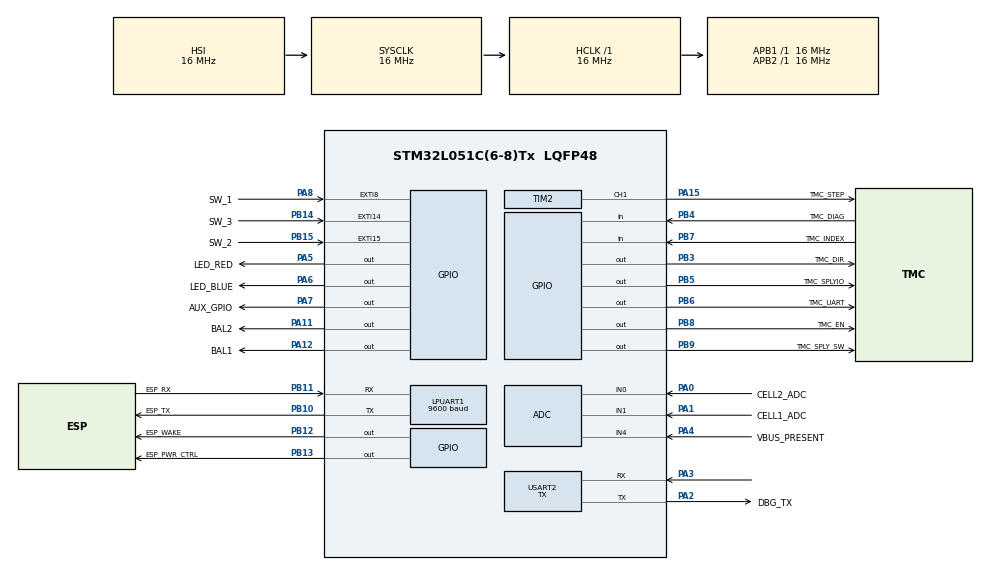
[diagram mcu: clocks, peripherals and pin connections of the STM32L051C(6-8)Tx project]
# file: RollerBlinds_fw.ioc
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ADC.ClockPrescaler=ADC_CLOCK_ASYNC_DIV8
ADC.ContinuousConvMode=ENABLE
ADC.DMAContinuousRequests=ENABLE
ADC.DiscontinuousConvMode=DISABLE
ADC.Overrun=ADC_OVR_DATA_OVERWRITTEN
ADC.OversamplingMode=ENABLE
ADC.Ratio=ADC_OVERSAMPLING_RATIO_16
ADC.RightBitShift=ADC_RIGHTBITSHIFT_4
ADC.SamplingTime=ADC_SAMPLETIME_160CYCLES_5
Dma.ADC.0.Direction=DMA_PERIPH_TO_MEMORY
Dma.ADC.0.Instance=DMA1_Channel1
Dma.ADC.0.MemDataAlignment=DMA_MDATAALIGN_WORD
Dma.ADC.0.MemInc=DMA_MINC_ENABLE
Dma.ADC.0.Mode=DMA_CIRCULAR
Dma.ADC.0.PeriphDataAlignment=DMA_PDATAALIGN_WORD
Dma.ADC.0.PeriphInc=DMA_PINC_DISABLE
Dma.ADC.0.Priority=DMA_PRIORITY_LOW
Dma.LPUART1_RX.1.Direction=DMA_PERIPH_TO_MEMORY
Dma.LPUART1_RX.1.Instance=DMA1_Channel3
Dma.LPUART1_RX.1.MemDataAlignment=DMA_MDATAALIGN_BYTE
Dma.LPUART1_RX.1.MemInc=DMA_MINC_ENABLE
Dma.LPUART1_RX.1.Mode=DMA_NORMAL
Dma.LPUART1_RX.1.PeriphDataAlignment=DMA_PDATAALIGN_BYTE
Dma.LPUART1_RX.1.PeriphInc=DMA_PINC_DISABLE
Dma.LPUART1_RX.1.Priority=DMA_PRIORITY_MEDIUM
Dma.Request0=ADC
Dma.Request1=LPUART1_RX
FREERTOS.MEMORY_ALLOCATION=2
FREERTOS.Tasks01=misc_task,0,64,misc_task_entry,Default,NULL,Dynamic,NULL,NULL;tmc_task,0,64,tmc_task_entry,Default,NULL,Dynamic,NULL,NULL;main_logic_task,0,128,main_logic_task_entry,Default,NULL,Dynamic,NULL,NULL;esp_task,0,128,esp_task_entry,Default,NULL,Dynamic,NULL,NULL;analog_task,0,64,analog_task_entry,Default,NULL,Dynamic,NULL,NULL
FREERTOS.configCHECK_FOR_STACK_OVERFLOW=1
FREERTOS.configGENERATE_RUN_TIME_STATS=0
FREERTOS.configMINIMAL_STACK_SIZE=64
FREERTOS.configTOTAL_HEAP_SIZE=2500
FREERTOS.configUSE_MUTEXES=0
LPUART1.BaudRate=9600
LPUART1.WordLength=UART_WORDLENGTH_8B
Mcu.Family=STM32L0
Mcu.Name=STM32L051C(6-8)Tx
Mcu.Package=LQFP48
NVIC.DMA1_Channel1_IRQn=true\:3\:0\:false\:false\:true\:true\:false\:true
NVIC.DMA1_Channel2_3_IRQn=true\:3\:0\:false\:false\:true\:true\:false\:true
NVIC.EXTI4_15_IRQn=true\:3\:0\:false\:false\:true\:true\:true\:true
NVIC.LPUART1_IRQn=true\:3\:0\:false\:false\:true\:true\:true\:true
NVIC.RTC_IRQn=true\:3\:0\:false\:false\:true\:true\:true\:true
NVIC.TIM2_IRQn=true\:3\:0\:false\:false\:true\:true\:true\:true
NVIC.TIM6_DAC_IRQn=true\:0\:0\:false\:false\:true\:false\:false\:true
NVIC.TimeBase=TIM6_DAC_IRQn
NVIC.TimeBaseIP=TIM6
NVIC.USART2_IRQn=true\:3\:0\:false\:false\:true\:true\:true\:true
PA0.GPIO_Label=CELL2_ADC
PA0.Mode=IN0
PA0.Signal=ADC_IN0
PA1.GPIO_Label=CELL1_ADC
PA1.Mode=IN1
PA1.Signal=ADC_IN1
PA11.GPIO_Label=BAL2
PA11.Signal=GPIO_Output
PA12.GPIO_Label=BAL1
PA12.Signal=GPIO_Output
PA13.Mode=Serial_Wire
PA13.Signal=SYS_SWDIO
PA14.Mode=Serial_Wire
PA14.Signal=SYS_SWCLK
PA15.GPIO_Label=TMC_STEP
PA15.Signal=S_TIM2_CH1
PA2.GPIO_Label=DBG_TX
PA2.Mode=Asynchronous
PA2.Signal=USART2_TX
PA3.Mode=Asynchronous
PA3.Signal=USART2_RX
PA4.GPIO_Label=VBUS_PRESENT
PA4.Mode=IN4
PA4.Signal=ADC_IN4
PA5.GPIO_Label=LED_RED
PA5.Signal=GPIO_Output
PA6.GPIO_Label=LED_BLUE
PA6.Signal=GPIO_Output
PA7.GPIO_Label=AUX_GPIO
PA7.Signal=GPIO_Output
PA8.GPIO_Label=SW_1
PA8.GPIO_ModeDefaultEXTI=GPIO_MODE_IT_FALLING
PA8.GPIO_PuPd=GPIO_PULLUP
PA8.Signal=GPXTI8
PB10.GPIO_Label=ESP_TX
PB10.Mode=Asynchronous
PB10.Signal=LPUART1_TX
PB11.GPIO_Label=ESP_RX
PB11.Mode=Asynchronous
PB11.Signal=LPUART1_RX
PB12.GPIO_Label=ESP_WAKE
PB12.Signal=GPIO_Output
PB13.GPIO_Label=ESP_PWR_CTRL
PB13.PinState=GPIO_PIN_SET
PB13.Signal=GPIO_Output
PB14.GPIO_Label=SW_3
PB14.GPIO_ModeDefaultEXTI=GPIO_MODE_IT_FALLING
PB14.GPIO_PuPd=GPIO_PULLUP
PB14.Signal=GPXTI14
PB15.GPIO_Label=SW_2
PB15.GPIO_ModeDefaultEXTI=GPIO_MODE_IT_FALLING
PB15.GPIO_PuPd=GPIO_PULLUP
PB15.Signal=GPXTI15
PB3.GPIO_Label=TMC_DIR
PB3.Signal=GPIO_Output
PB4.GPIO_Label=TMC_DIAG
PB4.Signal=GPIO_Input
PB5.GPIO_Label=TMC_SPLYIO
PB5.Signal=GPIO_Output
PB6.GPIO_Label=TMC_UART
PB6.Signal=GPIO_Output
PB7.GPIO_Label=TMC_INDEX
PB7.Signal=GPIO_Input
PB8.GPIO_Label=TMC_EN
PB8.Signal=GPIO_Output
PB9.GPIO_Label=TMC_SPLY_SW
PB9.Signal=GPIO_Output
PC14-OSC32_IN.Mode=LSE-External-Oscillator
PC14-OSC32_IN.Signal=RCC_OSC32_IN
PC15-OSC32_OUT.Mode=LSE-External-Oscillator
PC15-OSC32_OUT.Signal=RCC_OSC32_OUT
ProjectManager.HeapSize=0x200
ProjectManager.StackSize=0x400
ProjectManager.TargetToolchain=SW4STM32
RCC.AHBFreq_Value=16000000
RCC.APB1Freq_Value=16000000
RCC.APB1TimFreq_Value=16000000
RCC.APB2Freq_Value=16000000
RCC.APB2TimFreq_Value=16000000
RCC.HCLKFreq_Value=16000000
RCC.HSE_VALUE=8000000
RCC.HSI16_VALUE=16000000
RCC.HSI_VALUE=16000000
RCC.MSI_VALUE=2097000
RCC.RTCClockSelectionVirtual=RCC_RTCCLKSOURCE_LSE
RCC.SYSCLKFreq_VALUE=16000000
RCC.SYSCLKSource=RCC_SYSCLKSOURCE_HSI
RCC.VCOOutputFreq_Value=48000000
RTC.Date=21
RTC.DayLightSaving=RTC_DAYLIGHTSAVING_NONE
RTC.Format=RTC_FORMAT_BIN
RTC.Hours=15
RTC.Minutes=15
RTC.Month=RTC_MONTH_MAY
RTC.Seconds=13
RTC.WakeUpCounter-WakeUp=65535
RTC.WeekDay=RTC_WEEKDAY_FRIDAY
RTC.Year=21
SH.S_TIM2_CH1.0=TIM2_CH1,PWM Generation1 CH1
TIM2.Channel-PWM\ Generation1\ CH1=TIM_CHANNEL_1
TIM2.Period=32000
TIM2.Prescaler=7
TIM2.Pulse-PWM\ Generation1\ CH1=20
USART2.Mode=MODE_TX
USART2.VirtualMode-Asynchronous=VM_ASYNC
VP_FREERTOS_VS_CMSIS_V1.Mode=CMSIS_V1
VP_RTC_VS_RTC_Activate.Mode=RTC_Enabled
VP_RTC_VS_RTC_Calendar.Mode=RTC_Calendar
VP_RTC_VS_RTC_WakeUp_intern.Mode=WakeUp
VP_SYS_VS_tim6.Mode=TIM6
board=custom

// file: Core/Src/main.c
/* USER CODE BEGIN Header */
/**
  ******************************************************************************
  * @file           : main.c
  * @brief          : Main program body
  ******************************************************************************
  * @attention
  *
  * <h2><center>&copy; Copyright (c) 2021 STMicroelectronics.
  * All rights reserved.</center></h2>
  *
  * This software component is licensed by ST under BSD 3-Clause license,
  * the "License"; You may not use this file except in compliance with the
  * License. You may obtain a copy of the License at:
  *                        opensource.org/licenses/BSD-3-Clause
  *
  ******************************************************************************
  */
/* USER CODE END Header */
#include "main.h"
#include "cmsis_os.h"
#include "adc.h"
#include "dma.h"
#include "usart.h"
#include "rtc.h"
#include "tim.h"
#include "gpio.h"

/* USER CODE BEGIN Includes */
#include "hw.h"
/* USER CODE END Includes */

/* USER CODE BEGIN PV */
extern int32_t g_steps_abs;
extern  bool g_stp_direction;
/* USER CODE END PV */

void SystemClock_Config(void);
void MX_FREERTOS_Init(void);

int main(void)
{

  /* MCU Configuration--------------------------------------------------------*/

  /* Reset of all peripherals, Initializes the Flash interface and the Systick. */
  HAL_Init();

  /* Configure the system clock */
  SystemClock_Config();

  /* Initialize all configured peripherals */
  MX_GPIO_Init();
  MX_DMA_Init();
  MX_ADC_Init();
  MX_USART2_UART_Init();
  MX_TIM2_Init();
  MX_RTC_Init();
  MX_LPUART1_UART_Init();
  /* USER CODE BEGIN 2 */
  hw_espPower(false);
  hw_tmcEnable(false);
  HAL_GPIO_WritePin(TMC_UART_GPIO_Port, TMC_UART_Pin, GPIO_PIN_SET);

  hw_blueLed(true);
  HAL_Delay(500);

  hw_redLed(true);
  hw_blueLed(false);
  HAL_Delay(500);

  //hw_tmcEnable(true);
  hw_blueLed(true);
  HAL_Delay(500);
  hw_blueLed(false);
  hw_redLed(false);

  hw_adcStart(); //start adc

  //flush lpuart (esp comms) to prevent getting 0x00 at firtst receive call
  //uint8_t shitdata[3];
  //HAL_UART_Receive(&hlpuart1, shitdata, 3, 100);

  //set initial RTC date. updates from wifi at first run
  hw_setRtcTime(12, 12, 0);
  hw_setRtcDate(1, 1, 21);

  dbg_debugPrint("boot\n");

  //wait to allow debbugging after reset
  HAL_Delay(5000);

  //hw_espPower(true);
  //while(1);

  /* USER CODE END 2 */

  /* Call init function for freertos objects (in freertos.c) */
  MX_FREERTOS_Init();
  /* Start scheduler */
  osKernelStart();

  /* We should never get here as control is now taken by the scheduler */
  /* Infinite loop */
  while (1){

  }
}

void SystemClock_Config(void)
{
  RCC_OscInitTypeDef RCC_OscInitStruct = {0};
  RCC_ClkInitTypeDef RCC_ClkInitStruct = {0};
  RCC_PeriphCLKInitTypeDef PeriphClkInit = {0};

  /** Configure the main internal regulator output voltage
  */
  __HAL_PWR_VOLTAGESCALING_CONFIG(PWR_REGULATOR_VOLTAGE_SCALE1);
  /** Configure LSE Drive Capability
  */
  HAL_PWR_EnableBkUpAccess();
  __HAL_RCC_LSEDRIVE_CONFIG(RCC_LSEDRIVE_LOW);
  /** Initializes the RCC Oscillators according to the specified parameters
  * in the RCC_OscInitTypeDef structure.
  */
  RCC_OscInitStruct.OscillatorType = RCC_OSCILLATORTYPE_HSI|RCC_OSCILLATORTYPE_LSE;
  RCC_OscInitStruct.LSEState = RCC_LSE_ON;
  RCC_OscInitStruct.HSIState = RCC_HSI_ON;
  RCC_OscInitStruct.HSICalibrationValue = RCC_HSICALIBRATION_DEFAULT;
  RCC_OscInitStruct.PLL.PLLState = RCC_PLL_NONE;
  if (HAL_RCC_OscConfig(&RCC_OscInitStruct) != HAL_OK)
  {
    Error_Handler();
  }
  /** Initializes the CPU, AHB and APB buses clocks
  */
  RCC_ClkInitStruct.ClockType = RCC_CLOCKTYPE_HCLK|RCC_CLOCKTYPE_SYSCLK
                              |RCC_CLOCKTYPE_PCLK1|RCC_CLOCKTYPE_PCLK2;
  RCC_ClkInitStruct.SYSCLKSource = RCC_SYSCLKSOURCE_HSI;
  RCC_ClkInitStruct.AHBCLKDivider = RCC_SYSCLK_DIV1;
  RCC_ClkInitStruct.APB1CLKDivider = RCC_HCLK_DIV1;
  RCC_ClkInitStruct.APB2CLKDivider = RCC_HCLK_DIV1;

  if (HAL_RCC_ClockConfig(&RCC_ClkInitStruct, FLASH_LATENCY_0) != HAL_OK)
  {
    Error_Handler();
  }
  PeriphClkInit.PeriphClockSelection = RCC_PERIPHCLK_USART2|RCC_PERIPHCLK_LPUART1
                              |RCC_PERIPHCLK_RTC;
  PeriphClkInit.Usart2ClockSelection = RCC_USART2CLKSOURCE_PCLK1;
  PeriphClkInit.Lpuart1ClockSelection = RCC_LPUART1CLKSOURCE_PCLK1;
  PeriphClkInit.RTCClockSelection = RCC_RTCCLKSOURCE_LSE;
  if (HAL_RCCEx_PeriphCLKConfig(&PeriphClkInit) != HAL_OK)
  {
    Error_Handler();
  }
}

 /**
  * @brief  Period elapsed callback in non blocking mode
  * @note   This function is called  when TIM6 interrupt took place, inside
  * HAL_TIM_IRQHandler(). It makes a direct call to HAL_IncTick() to increment
  * a global variable "uwTick" used as application time base.
  * @param  htim : TIM handle
  * @retval None
  */
void HAL_TIM_PeriodElapsedCallback(TIM_HandleTypeDef *htim)
{
  if (htim->Instance == TIM6) {
    HAL_IncTick();
  }
}

void Error_Handler(void)
{
  __disable_irq();
  while (1)
  {
  }
}

/************************ (C) COPYRIGHT STMicroelectronics *****END OF FILE****/

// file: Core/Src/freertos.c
/* USER CODE BEGIN Header */
/**
  ******************************************************************************
  * File Name          : freertos.c
  * Description        : Code for freertos applications
  ******************************************************************************
  * @attention
  *
  * <h2><center>&copy; Copyright (c) 2021 STMicroelectronics.
  * All rights reserved.</center></h2>
  *
  * This software component is licensed by ST under Ultimate Liberty license
  * SLA0044, the "License"; You may not use this file except in compliance with
  * the License. You may obtain a copy of the License at:
  *                             www.st.com/SLA0044
  *
  ******************************************************************************
  */
/* USER CODE END Header */

#include "FreeRTOS.h"
#include "task.h"
#include "main.h"
#include "cmsis_os.h"

/* USER CODE BEGIN Includes */
#include "hw.h"
/* USER CODE END Includes */

/* USER CODE BEGIN Variables */
extern volatile int32_t g_vel_act; //actual motor velocity global variable from hw.c file
extern volatile int32_t g_vel_cmd; //global velocity command variable from hw.c file

extern volatile int32_t g_steps_abs; //global variables for absolute step counter and stepper direction from hw.c file

extern volatile int32_t g_pos_cmd; //global position command variable from hw.c file
extern volatile bool g_pos_ctrl_active; //global positional controll active flag from hw.c file

extern volatile bool g_charging_flag; //global charging flag from hw.c file
extern volatile bool g_low_battery_flag; //global low batterz flag from hw.c
extern volatile bool g_balance_active_flag; //global balance active flag from hw.c
extern volatile bool g_fully_charged_flag; //global fullu charged flag from hw.c

extern volatile int32_t g_up_pos; //global up position from hw.c
extern volatile int32_t g_down_pos; //global down position from hw.c

extern volatile bool g_esp_comms_active; //global esp comms active flag from hw.c

//extern volatile uint8_t g_SoC; //global battery state of charge variable from hw.c
extern volatile uint8_t g_status; //global status code (indicates open/close status and errors) from hw.c
extern volatile bool g_request_rtc_refresh; //global rtc time refresh request flag from hw.c. if rtc refresh ok, esp_task resets this to 0

//set position from slider on home assistant in PERCENT  value 255 indicates no movement needed
volatile uint8_t force_position_from_wifi = 255;

//todo: set status code throughout operation

// 0: unknown
// 1: up
// 2: down
uint8_t g_blinds_position = 0;

extern uint8_t g_inhibit_sleep; //global inhibit sleep flag. Keeps looping, doesnt sleep
bool g_esp_data_ok = false; //indicates esp got data (and updated timetable if new times arrived)

//timetable structure for opening/closing times When times are received from esp, we write them in timetable
//also for rtc refresh scheduled time
//set done flag when action finished, reset one minute later (prevents repeated triggering)
struct Timetable{
    uint8_t open_hr;
    uint8_t open_min;
    uint8_t close_hr;
    uint8_t close_min;
    bool open_done;
    bool close_done;
    uint8_t timetable_refresh_minute;
};
struct Timetable timetable;

/* USER CODE END Variables */
osThreadId misc_taskHandle;
osThreadId tmc_taskHandle;
osThreadId main_logic_taskHandle;
osThreadId esp_taskHandle;
osThreadId analog_taskHandle;

void misc_task_entry(void const * argument);
void tmc_task_entry(void const * argument);
void main_logic_task_entry(void const * argument);
void esp_task_entry(void const * argument);
void analog_task_entry(void const * argument);

void MX_FREERTOS_Init(void); /* (MISRA C 2004 rule 8.1) */

/* GetIdleTaskMemory prototype (linked to static allocation support) */
void vApplicationGetIdleTaskMemory( StaticTask_t **ppxIdleTaskTCBBuffer, StackType_t **ppxIdleTaskStackBuffer, uint32_t *pulIdleTaskStackSize );

/* Hook prototypes */
void vApplicationStackOverflowHook(xTaskHandle xTask, signed char *pcTaskName);

/* USER CODE BEGIN 4 */
__weak void vApplicationStackOverflowHook(xTaskHandle xTask, signed char *pcTaskName)
{
   /* Run time stack overflow checking is performed if
   configCHECK_FOR_STACK_OVERFLOW is defined to 1 or 2. This hook function is
   called if a stack overflow is detected. */
}
/* USER CODE END 4 */

/* USER CODE BEGIN GET_IDLE_TASK_MEMORY */
static StaticTask_t xIdleTaskTCBBuffer;
static StackType_t xIdleStack[configMINIMAL_STACK_SIZE];

void vApplicationGetIdleTaskMemory(StaticTask_t **ppxIdleTaskTCBBuffer, StackType_t **ppxIdleTaskStackBuffer,
                                   uint32_t *pulIdleTaskStackSize) {
    *ppxIdleTaskTCBBuffer = &xIdleTaskTCBBuffer;
    *ppxIdleTaskStackBuffer = &xIdleStack[0];
    *pulIdleTaskStackSize = configMINIMAL_STACK_SIZE;
    /* place for user code */
}
/* USER CODE END GET_IDLE_TASK_MEMORY */

void MX_FREERTOS_Init(void) {

  /* Create the thread(s) */
  /* definition and creation of misc_task */
  osThreadDef(misc_task, misc_task_entry, osPriorityNormal, 0, 64);
  misc_taskHandle = osThreadCreate(osThread(misc_task), NULL);

  /* definition and creation of tmc_task */
  osThreadDef(tmc_task, tmc_task_entry, osPriorityNormal, 0, 64);
  tmc_taskHandle = osThreadCreate(osThread(tmc_task), NULL);

  /* definition and creation of main_logic_task */
  osThreadDef(main_logic_task, main_logic_task_entry, osPriorityNormal, 0, 128);
  main_logic_taskHandle = osThreadCreate(osThread(main_logic_task), NULL);

  /* definition and creation of esp_task */
  osThreadDef(esp_task, esp_task_entry, osPriorityNormal, 0, 128);
  esp_taskHandle = osThreadCreate(osThread(esp_task), NULL);

  /* definition and creation of analog_task */
  osThreadDef(analog_task, analog_task_entry, osPriorityNormal, 0, 64);
  analog_taskHandle = osThreadCreate(osThread(analog_task), NULL);

}

void misc_task_entry(void const * argument)
{
  /* USER CODE BEGIN misc_task_entry */
    /* Infinite loop */
    while(1){
        osDelay(100);
    }

  /* USER CODE END misc_task_entry */
}

void tmc_task_entry(void const * argument)
{
  /* USER CODE BEGIN tmc_task_entry */
    /* Infinite loop */
    //while(1);
    for (;;) {
        //positional controll. sets desired velocity
        //no need to ramp speed up, is handeled by velocity ctrl. only need to slow down to reach the exact destination

        if (g_pos_ctrl_active) { //positional controll active / position not yet reached
            int32_t diff = g_pos_cmd - g_steps_abs;
//          else if((g_pos_cmd >= 0 && g_steps_abs > g_pos_cmd) || (g_pos_cmd < 0 && g_steps_abs < g_pos_cmd)){
//              //we have overshot destination in this case. whoops.
//              g_pos_ctrl_active = false;
//          }
            if (abs(diff) < TMC_POS_CTRL_RAMP_DOWN_LEN) { //near destinatio
                int32_t reqVel = (TMC_CRUISE_VEL * diff) /
                                 TMC_POS_CTRL_RAMP_DOWN_LEN; //required velocity. this should be capped at TMC_MIN_VEL (min velocity at which destination is reached)
                if (reqVel >= 0 && reqVel <= TMC_MIN_VEL) reqVel = TMC_MIN_VEL;
                else if (reqVel < 0 && reqVel >= -TMC_MIN_VEL) reqVel = -TMC_MIN_VEL;
                tmc_commandVelocity(reqVel);
            } else if (diff > 0) { //cruising speed, positive direction
                tmc_commandVelocity(TMC_CRUISE_VEL);
            } else { //cruising speed, negative direction
                tmc_commandVelocity(-TMC_CRUISE_VEL);
            }
            if (abs(diff) <= 5) { //5 steps to destination is close enough
                g_pos_ctrl_active = false;
                tmc_commandVelocity(0);
            }
        }

        //velocity controll
        int32_t sps_rel;
        if (g_vel_cmd != 0 || g_vel_act != 0) { //commanded and actual velocity not zero, tmc should be ON
            tmc_startStepGen();
            hw_tmcEnable(true);
            if (g_vel_cmd < g_vel_act) {
                if (g_vel_act - g_vel_cmd <= TMC_VEL_CHNG_PER_MS * TMC_TASK_DELAY) { //we can directly jump to commanded speed
                    sps_rel = g_vel_cmd;
                    g_vel_act = sps_rel;
                    if (sps_rel >= 0) {
                        tmc_setSpS(sps_rel);
                        tmc_direction(true);
                    } else {
                        tmc_setSpS(-sps_rel);
                        tmc_direction(false);
                    }

                } else { //decrease speed max allowable amount
                    sps_rel = g_vel_act - TMC_VEL_CHNG_PER_MS * TMC_TASK_DELAY;
                    g_vel_act = sps_rel;
                    if (sps_rel >= 0) {
                        tmc_setSpS(sps_rel);
                        tmc_direction(true);
                    } else {
                        tmc_setSpS(-sps_rel);
                        tmc_direction(false);
                    }
                }
            } else if (g_vel_cmd > g_vel_act) {
                if (g_vel_cmd - g_vel_act <= TMC_VEL_CHNG_PER_MS * TMC_TASK_DELAY) { //we can directly jump to commanded speed
                    sps_rel = g_vel_cmd;
                    g_vel_act = sps_rel;
                    if (sps_rel >= 0) {
                        tmc_setSpS(sps_rel);
                        tmc_direction(true);
                    } else {
                        tmc_setSpS(-sps_rel);
                        tmc_direction(false);
                    }
                } else { //increase speed max allowable amount
                    sps_rel = g_vel_act + TMC_VEL_CHNG_PER_MS * TMC_TASK_DELAY;
                    g_vel_act = sps_rel;
                    if (sps_rel >= 0) {
                        tmc_setSpS(sps_rel);
                        tmc_direction(true);
                    } else {
                        tmc_setSpS(-sps_rel);
                        tmc_direction(false);
                    }
                }
            }
        } else { //commanded and actual velocity zero, tmc should be OFF
            tmc_stopStepGen();
            hw_tmcEnable(false);
        }

        //else: nothing to do, speed is already mached
        osDelay(TMC_TASK_DELAY);
    }
  /* USER CODE END tmc_task_entry */
}

void main_logic_task_entry(void const * argument)
{
  /* USER CODE BEGIN main_logic_task_entry */
    /* Infinite loop */
    for (;;) {

        //first run code

        //set timetable members to 255 (no valid open/close times)
        timetable.close_hr = 255;
        timetable.close_min = 255;
        timetable.open_hr = 255;
        timetable.open_min = 255;
        timetable.open_done = false;
        timetable.timetable_refresh_minute = 0;

//        //set timetable members to 255 (no valid open/close times)
//        timetable.close_hr = 12;
//        timetable.close_min = 04;
//        timetable.open_hr = 12;
//        timetable.open_min = 02;
//        timetable.open_done = false;
//        timetable.rtc_refresh_day = 15;
//        timetable.rtc_done = false;
//        timetable.timetable_refresh_minute = 30;
//        timetable.timetable_refresh_done = false;

        //first thing to do: set rtc from wifi
        hw_blueLed(true);
        osDelay(1000);
        //set rtc time from wifi. tries again if failed. sw cant start if this is not ok.
        //bool rtcok = false;
        //vTaskSuspend(tmc_taskHandle);
        //vTaskSuspend(misc_taskHandle);
        //vTaskSuspend(analog_taskHandle);
        bool rtcok = false; //todo: this is set to true to disable rtc time refresh on startup
        while(!rtcok){
            osDelay(100);
            g_request_rtc_refresh = true; //request rtc refresh
            g_esp_comms_active = true; //start comms with esp
            while(g_esp_comms_active){
                //osDelay(10);
            }
            if(g_esp_data_ok && !g_request_rtc_refresh){
                rtcok = true;
            }
            else{
                rtcok = false;
            }

        }
        hw_blueLed(false);
        hw_redLed(true);
        static uint8_t loopCtrl = 1;
        while(loopCtrl){

            hw_tmcPower(true);
            hw_tmcIoSply(true);
            switch(loopCtrl){
                case 0:
                    break;
                case 1:
                    //setting upper position. red led illuminated
                    hw_redLed(true);
                    hw_blueLed(false);
                    if(hw_sw1()){
                        tmc_commandVelocity(TMC_MAX_VEL); //jogging up
                    }
                    else if(hw_sw3()){
                        tmc_commandVelocity(-TMC_MAX_VEL); //jogging down
                    }
                    else{
                        tmc_commandVelocity(0);
                    }
                    if(hw_sw2()){
                        //set position button.
                        tmc_commandVelocity(0);
                        loopCtrl = 2;
                        g_up_pos = g_steps_abs;
                        osDelay(500);
                    }
                    break;
                case 2:
                    //setting lower position. blue led illuminated
                    hw_redLed(false);
                    hw_blueLed(true);
                    //reset MCU if all three buttons pressed
                    if(hw_sw1() && hw_sw2() && hw_sw3()){
                        HAL_NVIC_SystemReset();
                    }
                    if(hw_sw1()){
                        tmc_commandVelocity(TMC_MAX_VEL); //jogging up
                    }
                    else if(hw_sw3()){
                        tmc_commandVelocity(-TMC_MAX_VEL); //jogging down
                    }
                    else{
                        tmc_commandVelocity(0);
                    }

                    hw_redLed(false);

                    if(hw_sw2()){
                        //set position button.
                        tmc_commandVelocity(0);
                        g_down_pos = g_steps_abs;
                        //calibration finished, blink a few times
                        hw_redLed(false);
                        hw_blueLed(false);
                        osDelay(100);
                        hw_redLed(true);
                        hw_blueLed(true);
                        osDelay(100);
                        hw_redLed(false);
                        hw_blueLed(false);
                        osDelay(100);
                        hw_redLed(true);
                        hw_blueLed(true);
                        osDelay(100);
                        hw_redLed(false);
                        hw_blueLed(false);
                        //calibration now finished, we can exit while loop by setting loopctrl to 0
                        loopCtrl = 0;
                    }
            }

        }
        hw_tmcIoSply(false);
        hw_tmcPower(false);
        //set next timetable refresh time
        timetable.timetable_refresh_minute = hw_scheduleMinuteCompare(TIMETABLE_REFRESH_PERIOD_MIN);
        dbg_debugPrint("calib ok\n");
        // ########## END OF STARTUP MANUAL POSITION CALIBRATION

        //plan for main logic:
        //do stuff and sleep at the end of every while cycle
        //for low battery, dont cycle the loop unless charged enough (sleep in a sepparate loop)
        //on wake up, check:
        //low battery?
        //charging?
        //button presses - manual open/close?
        //time to auto open/close?
        //time to refresh rtc?
        // nope? go back to sleep

        //if low battery, go to a nested loop, stay there until conditions no longer true

        //main logic loop

        while(1){
            //just woken up:
            hw_inhibitSleepReset();

            //check if battery is dead
            uint32_t batDeadSlpCounter = 0;
            while(hw_getSoc() == 0){
                //g_status = STATUS_BAT_DEAD;
                if(batDeadSlpCounter == 0){ //send status to esp once when enetering low bat
                    g_request_rtc_refresh = false;
                    g_esp_comms_active = true;
                    while(g_esp_comms_active);
                }
                if(batDeadSlpCounter%20 == 0){
                    osDelay(100); //allow sime time for other stuff to happen once in a while
                }
                batDeadSlpCounter++;
                hw_sleep();

                //reset MCU if all three buttons pressed
                if(hw_sw1() && hw_sw2() && hw_sw3()){
                    HAL_NVIC_SystemReset();
                }
            }

            //check if charging. inhibit sleep and enable leds if it is
            if(g_charging_flag){
                hw_inhibitSleep(true);
                if(g_fully_charged_flag){
                    hw_blueLed(true);
                    hw_redLed(false);
                }
                else{
                    hw_blueLed(false);
                    hw_redLed(true);
                }
            }
            else{
                hw_inhibitSleep(false);
                hw_blueLed(false);
                hw_redLed(false);
            }

            //buttons pressed?
            if(hw_sw1() && g_blinds_position != G_POS_UP){
                hw_tmcPower(true);
                hw_tmcIoSply(true);
                osDelay(100);
                tmc_commandPosition(g_up_pos);
                while (tmc_posCtrlActive()){
                    if(hw_sw3()){
                        tmc_commandPosition(g_down_pos);
                    }
                    else if(hw_sw1()){
                        tmc_commandPosition(g_up_pos);
                    }
                }
                hw_tmcPower(false);
                hw_tmcIoSply(false);
            }
            else if(hw_sw3() && g_blinds_position != G_POS_DOWN){
                hw_tmcPower(true);
                hw_tmcIoSply(true);
                osDelay(100);
                tmc_commandPosition(g_down_pos);
                while (tmc_posCtrlActive()){
                    if(hw_sw3()){
                        tmc_commandPosition(g_down_pos);
                    }
                    else if(hw_sw1()){
                        tmc_commandPosition(g_up_pos);
                    }
                }
                hw_tmcPower(false);
                hw_tmcIoSply(false);
            }

            //refresh timetable if middle button pressed
            else if(hw_sw2()){
                g_esp_comms_active = true; //trigger comms
                timetable.timetable_refresh_minute = hw_scheduleMinuteCompare(TIMETABLE_REFRESH_PERIOD_MIN);
            }

            //reset MCU if all three buttons pressed
            if(hw_sw1() && hw_sw2() && hw_sw3()){
                HAL_NVIC_SystemReset();
            }

            //automatic RTC opening, closing

            //open
            if(hw_getHour() == timetable.open_hr && hw_getMinute() == timetable.open_min && !timetable.open_done && g_blinds_position != G_POS_UP){
                dbg_debugPrint("auto up\n");
                hw_tmcPower(true);
                hw_tmcIoSply(true);
                osDelay(100);
                tmc_commandPosition(g_up_pos);
                while (tmc_posCtrlActive()){
                    if(hw_sw3()){
                        tmc_commandPosition(g_down_pos);
                    }
                    else if(hw_sw1()){
                        tmc_commandPosition(g_up_pos);
                    }
                }
                hw_tmcPower(false);
                hw_tmcIoSply(false);
                timetable.open_done = true;
            }

            //close
            if(hw_getHour() == timetable.close_hr && hw_getMinute() == timetable.close_min && !timetable.close_done && g_blinds_position != G_POS_DOWN){
                dbg_debugPrint("auto dn\n");
                hw_tmcPower(true);
                hw_tmcIoSply(true);
                osDelay(100);
                tmc_commandPosition(g_down_pos);
                while (tmc_posCtrlActive()){
                    if(hw_sw3()){
                        tmc_commandPosition(g_down_pos);
                    }
                    else if(hw_sw1()){
                        tmc_commandPosition(g_up_pos);
                    }
                }
                hw_tmcPower(false);
                hw_tmcIoSply(false);
                timetable.close_done = true;
            }

            //manual position from home assistant
            if(force_position_from_wifi <= 100){
                dbg_debugPrint("auto prcnt\n");
                hw_tmcPower(true);
                hw_tmcIoSply(true);
                osDelay(100);
                tmc_commandPositionPercent(force_position_from_wifi);
                while (tmc_posCtrlActive()){
                    if(hw_sw3()){
                        tmc_commandPosition(g_down_pos);
                    }
                    else if(hw_sw1()){
                        tmc_commandPosition(g_up_pos);
                    }
                }
                force_position_from_wifi = 255;
                hw_tmcPower(false);
                hw_tmcIoSply(false);
            }

            //reset close_done flag
            if(timetable.close_done){
                if(hw_getMinute() != timetable.close_min){
                    timetable.close_done = false;
                }
            }
            //reset open_done flag
            if(timetable.open_done){
                if(hw_getMinute() != timetable.open_min){
                    timetable.open_done = false;
                }
            }

            if(hw_getMinute() == timetable.timetable_refresh_minute){
                g_request_rtc_refresh = true; //request rtc refresh
                g_esp_comms_active = true; //trigger comms
                timetable.timetable_refresh_minute = hw_scheduleMinuteCompare(TIMETABLE_REFRESH_PERIOD_MIN);
            }

            //not needed - rtc is refreshed every timetable refresh
//            if(hw_getDay() == timetable.rtc_refresh_day && !timetable.rtc_done){
//                g_request_rtc_refresh = false; //not needed here
//                g_esp_comms_active = true; //triger comms
//                timetable.rtc_done = true;
//            }

            //request sleep inhibit if esp comms active
            if(g_esp_comms_active){
                hw_inhibitSleep(true);
            }
            else{
                hw_inhibitSleep(false);
            }

            //set g_blinds_position
            if(abs(g_steps_abs-g_up_pos)<POS_CLOSE_ENOUGH) g_blinds_position = G_POS_UP;
            else if(abs(g_steps_abs-g_down_pos)<POS_CLOSE_ENOUGH) g_blinds_position = G_POS_DOWN;
            else g_blinds_position = G_POS_UNKNOWN;

            if(!g_inhibit_sleep){
                osDelay(10); //allow some time for other tasks
                hw_sleep();
                //osDelay(5000);
            }
        }

        //testing control logic
//        while(true){
//            //automatic RTC closing
//            if (1 && hw_getHour() == 21 && hw_getMinute() == 30 && hw_getSecond() < 20) {
//                //closing time
//                hw_tmcPower(true);
//                hw_tmcIoSply(true);
//                hw_redLed(true);
//                tmc_commandPosition(g_down_pos);
//                while (tmc_posCtrlActive());
//            }
//
//                //automatic RTC opening
//            else if (1 && hw_getHour() == 9 && hw_getMinute() == 5 && hw_getSecond() < 20) {
//                //opening time
//                hw_tmcPower(true);
//                hw_tmcIoSply(true);
//                hw_redLed(true);
//                tmc_commandPosition(g_up_pos);
//                while (tmc_posCtrlActive());
//            }
//            else if (hw_sw1()) {
//                //gor
//                hw_tmcPower(true);
//                hw_tmcIoSply(true);
//                hw_redLed(true);
//                tmc_commandPosition(g_up_pos);
//                while (tmc_posCtrlActive());
//
//            }
//            else if (hw_sw2()) {
//            }
//            else if (hw_sw3()) {
//                //dol
//                hw_tmcPower(true);
//                hw_tmcIoSply(true);
//                hw_redLed(true);
//                tmc_commandPosition(g_down_pos);
//                while (tmc_posCtrlActive());
//
//            } else {
//
//            }
//
//            if (g_charging_flag) {
//                hw_blueLed(true);
//            } else {
//                hw_blueLed(false);
//                hw_redLed(false);
//                //osDelay(5000);
//                hw_sleep();
//                //hw_redLed(true);
//
//            }
//        }

    }
  /* USER CODE END main_logic_task_entry */
}

void esp_task_entry(void const * argument)
{
  /* USER CODE BEGIN esp_task_entry */
    /* Infinite loop */
    for (;;) {
        osDelay(1);
        static uint8_t slider_pos_prev = 255; //255 only at boot
        // communication with ESP8266 module:
        // - STM turns on ESP power
        // - STM sends status(error, battery) and clock refresh request to ESP (frame COMM1)
        // - ESP connects to wifi, gets opening/closing time and time/date if requested
        // - ESP sends data to STM (frame COMM2)
        // - STM shuts off power to ESP

        // STM implements timeouts on communication
        //all frames are arrays of bytes (fixed length)

        // COMM1 frame: [bStatus, bPosition, bBatteryPercent, bBatteryDelta, bOpenHr, bOpenMin, bCloseHr, bCloseMin, bRequestTimeRefresh, bSum] len=10
        // COMM2 frame: [bOpenHr, bOpenMin, bCloseHr, bCloseMin, bTimeNowHr, bTimeNowMin, bTimeNowSec, bDateNowDate, bDateNowMonth, bDateNowYear, bEnableAuto, bManualPosition, bSum] len=13

        //sum is cheksup byte. sum of all previous bytes + 1 (with normal uintt8_t overflow)
        // if time values not available or requested set bytes to 0xFF

        if(g_esp_comms_active){
            dbg_debugPrint("tmtbl rfrsh strt\n");
            g_esp_data_ok = false;
            uint8_t comm2_data[COMM2_LEN] = {0};
            //main logic comanded
            hw_espPower(true); //enable esp power //todo: commented out for testing
            osDelay(100); //wait for esp to wake up and start running

            //purge uart receiver
            uint8_t shitdata[3];
            HAL_UART_Receive(&hlpuart1, shitdata, 3, 100);

            uint8_t comm1[COMM1_LEN] = {g_status, tmc_getPositionPercent(), hw_getSoc(), abs((int32_t)hw_getCell2Voltage()-(int32_t)hw_getCell1Voltage()), timetable.open_hr, timetable.open_min, timetable.close_hr, timetable.close_min, g_request_rtc_refresh, 0};
            uint8_t checksum = 0;
            for(uint8_t n = 0 ; n<COMM1_LEN ; n++){ //calculate checksum
                checksum += comm1[n];
            }
            checksum += 1;
            comm1[COMM1_LEN-1] = checksum;
            //HAL_GPIO_TogglePin(AUX_GPIO_GPIO_Port, AUX_GPIO_Pin);
            volatile HAL_StatusTypeDef ok = HAL_UART_Transmit(&hlpuart1, comm1, COMM1_LEN, 100); //transmit first frame
            for(uint8_t i = 0 ; i<COMM2_LEN ; i++){ //clear array for new data
                comm2_data[i] = 0;
            }
            //vTaskSuspendAll();
            //volatile bool gt = __HAL_UART_GET_FLAG(&hlpuart1, UART_FLAG_FE);
            //gt = __HAL_UART_GET_FLAG(&hlpuart1, UART_FLAG_ORE);
            //gt = __HAL_UART_GET_FLAG(&hlpuart1, UART_FLAG_PE);
            //gt = __HAL_UART_GET_FLAG(&hlpuart1, UART_FLAG_ABRE);

            //HAL_UART_Receive_DMA(&hlpuart1, comm2_data, 1);
            //HAL_GPIO_TogglePin(AUX_GPIO_GPIO_Port, AUX_GPIO_Pin);
            //while(__HAL_DMA_GET_COUNTER(&hdma_lpuart1_rx) != 0);
            //volatile bool gt = __HAL_UART_GET_FLAG(&hlpuart1, UART_FLAG_RXNE);
//            __HAL_UART_CLEAR_FEFLAG(&hlpuart1);
//            __HAL_UART_CLEAR_OREFLAG(&hlpuart1);
//            __HAL_UART_CLEAR_PEFLAG(&hlpuart1);
//            __HAL_UART_CLEAR_NEFLAG(&hlpuart1);
//            __HAL_UART_CLEAR_FLAG(&hlpuart1, UART_FLAG_RXNE);
//            __HAL_UART_CLEAR_FLAG(&hlpuart1, UART_FLAG_TC);
//            __HAL_UART_CLEAR_FLAG(&hlpuart1, UART_FLAG_RXNE);
            HAL_StatusTypeDef recvStat = HAL_UART_Receive_DMA(&hlpuart1, comm2_data, COMM2_LEN);
            //HAL_StatusTypeDef recvStat = HAL_UART_Receive(&hlpuart1, comm2_data, COMM2_LEN, ESP_DATARECV_TIMEOUT);
            //xTaskResumeAll();
            uint32_t startUartRecv = HAL_GetTick();
            while(__HAL_DMA_GET_COUNTER(&hdma_lpuart1_rx) != 0 && HAL_GetTick() - startUartRecv < ESP_DATARECV_TIMEOUT);
            if(recvStat == HAL_OK){ //wait for data received
                //received data before timeout.
                //data is now transfered to array and can pe read by main logic (which checks for validity)
                hw_espPower(false); //turn power off
                //g_esp_comms_active = false; //todo: correct placement of this??
                //transfer data to timetable structure
                if(comm2_valid(comm2_data)){
                    //transfer timetable data
                    if(comm2_getData(comm2_data, COMM2_ENABLE_AUTO)){
                        timetable.open_hr = comm2_getData(comm2_data, COMM2_OPEN_HR);
                        timetable.open_min = comm2_getData(comm2_data, COMM2_OPEN_MIN);
                        timetable.close_hr = comm2_getData(comm2_data, COMM2_CLOSE_HR);
                        timetable.close_min = comm2_getData(comm2_data, COMM2_CLOSE_MIN);
                    }
                    //auto disabled, set to 255 to never auto close/open
                    else{
                        timetable.open_hr = 255;
                        timetable.open_min = 255;
                        timetable.close_hr = 255;
                        timetable.close_min = 255;
                    }
                    dbg_debugPrint("tmtbl rfrsh ok\n");
                    g_esp_data_ok = true;

                    //manual positioning with slider
                    if(comm2_getData(comm2_data, COMM2_MANUAL_POS) != slider_pos_prev && slider_pos_prev != 255){
                        force_position_from_wifi = comm2_getData(comm2_data, COMM2_MANUAL_POS);
                        dbg_debugPrint("man pos writen\n");
                    }
                    else{
                        //force_position_from_wifi = 255;
                    }
                    slider_pos_prev = comm2_getData(comm2_data, COMM2_MANUAL_POS);

                    if(comm2_RtcRefreshIncluded(comm2_data)){
                        hw_setRtcFromComm2(comm2_data);
                        g_request_rtc_refresh = false; //reset to let main logic know that rtc refresh successfull
                        dbg_debugPrint("rtc rfrsh ok\n");
                    }
                }
                else{
                    dbg_debugPrint("crpted\n");
                }
            }
            else{
                dbg_debugPrint("tmout\n");
                //data was not received, end communication
                hw_espPower(false); //turn power off
                //g_esp_comms_active = false;
            }
            g_esp_comms_active = false;
        }
    }
  /* USER CODE END esp_task_entry */
}

void analog_task_entry(void const * argument)
{
  /* USER CODE BEGIN analog_task_entry */
    /* Infinite loop */
    for (;;) {
        //low battery flag logic (whit hysteresis)
        if (!g_low_battery_flag &&
            (hw_getCell1Voltage() < LOW_CELL_VOLT_THR || hw_getCell2Voltage() < LOW_CELL_VOLT_THR)) {
            //if low battery flag not set and one cell dips below LOW_CELL_VOLT_THR, set low bat flag
            g_low_battery_flag = true;
        }
        if (g_low_battery_flag &&
            (hw_getCell1Voltage() > LOW_CELL_VOLT_REC || hw_getCell2Voltage() > LOW_CELL_VOLT_REC)) {
            //if low battery flag is set and both cells rise above LOW_CELL_VOLT_REC, reset low bat flag
            g_low_battery_flag = false;
        }

        //charging flag logic
        if (hw_vbusPresent()) {
            g_charging_flag = true;
            if (hw_getCell1Voltage() > BAT_FULL_CHRG_THR && hw_getCell2Voltage() > BAT_FULL_CHRG_THR) {
                //battery is fully charged
                g_fully_charged_flag = true;
            }
        } else {
            g_charging_flag = false;
            g_fully_charged_flag = false;
        }

        //balancing logic (with hysteresis)
        if (g_charging_flag) {
            //balance only when charger connected
            if (!g_balance_active_flag &&
                abs((int32_t) hw_getCell1Voltage() - (int32_t) hw_getCell2Voltage()) > BAT_BAL_START_THR) {
                //if imbalance is larger than thrashold, set balancing flag
                g_balance_active_flag = true;
            }
            if (g_balance_active_flag &&
                abs((int32_t) hw_getCell1Voltage() - (int32_t) hw_getCell2Voltage()) < BAT_BAL_STOP_THR) {
                //if balancing is active and cells reached close enough point, stop balancing
                g_balance_active_flag = false;
            }
        } else {
            g_balance_active_flag = false;
        }

        //balancing on off logic
        if (g_balance_active_flag) {
            if (hw_getCell1Voltage() > hw_getCell2Voltage()) {
                //cell 1 is higher, turn balancing on on cell 1
                hw_bal1(true);
            } else {
                //cell 2 is higher
                hw_bal2(true);
            }
        } else {
            hw_bal1(false);
            hw_bal2(false);
        }

    }
  /* USER CODE END analog_task_entry */
}

/************************ (C) COPYRIGHT STMicroelectronics *****END OF FILE****/
